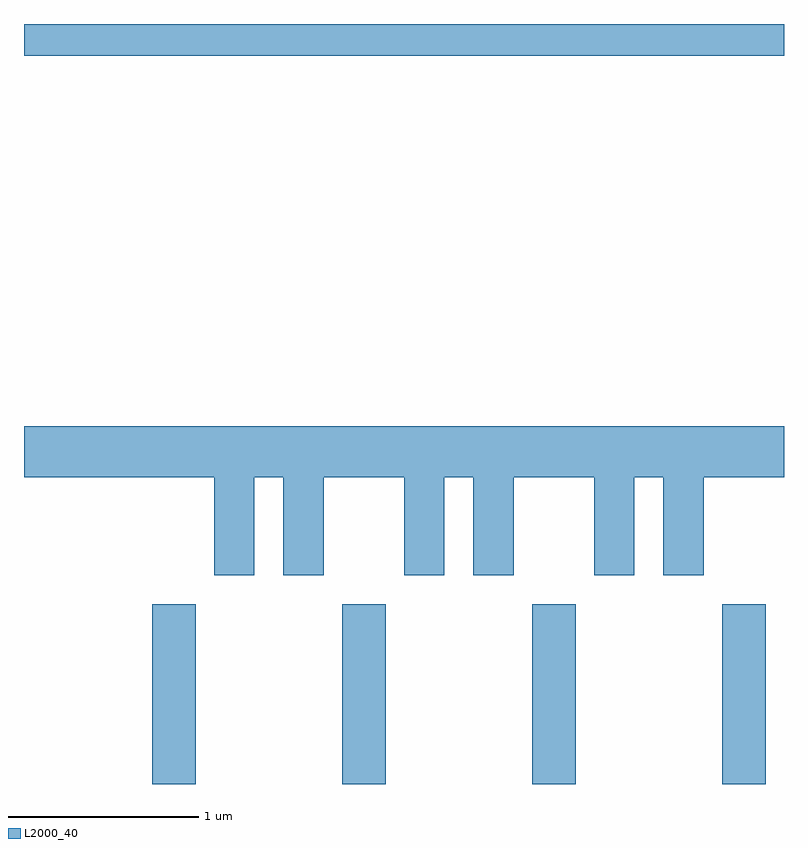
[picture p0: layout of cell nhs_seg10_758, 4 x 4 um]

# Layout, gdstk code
import gdstk
lib = gdstk.Library(unit=1e-6, precision=1e-09)
def R(c, l, rs):  # rectangles x0, y0, x1, y1
    for r in rs: c.add(gdstk.rectangle(r[:2], r[2:], *l))
def A(c, l, x, y, w, h, nx, ny, dx, dy):  # array of equal rectangles
    R(c, l, [(x+i*dx, y+j*dy, x+i*dx+w, y+j*dy+h) for i in range(nx) for j in range(ny)])
def P(c, l, *ps):  # polygons
    for p in ps: c.add(gdstk.Polygon(p, *l))
L2000_40 = (2000, 40)

nhs_seg10_758 = lib.new_cell('nhs_seg10_758')
A(nhs_seg10_758, L2000_40, 208.286, 2114.522, 0.228, 0.947, 4, 1, 1, 0)
R(nhs_seg10_758, L2000_40, [(207.611,2118.356,211.611,2118.522)])
P(nhs_seg10_758, L2000_40, [(208.824,2116.136),(208.976,2116.136),(208.976,2115.621),(209.189,2115.621),(209.189,2116.136),(209.611,2116.136),(209.611,2115.621),(209.824,2115.621),(209.824,2116.136),(209.976,2116.136),(209.976,2115.621),(210.189,2115.621),(210.189,2116.136),(210.611,2116.136),(210.611,2115.621),(210.824,2115.621),(210.824,2116.136),(210.976,2116.136),(210.976,2115.621),(211.189,2115.621),(211.189,2116.136),(211.611,2116.136),(211.611,2116.404),(207.611,2116.404),(207.611,2116.136),(208.611,2116.136),(208.611,2115.621),(208.824,2115.621)])

lib.write_gds('nhs_seg10_758.gds')
